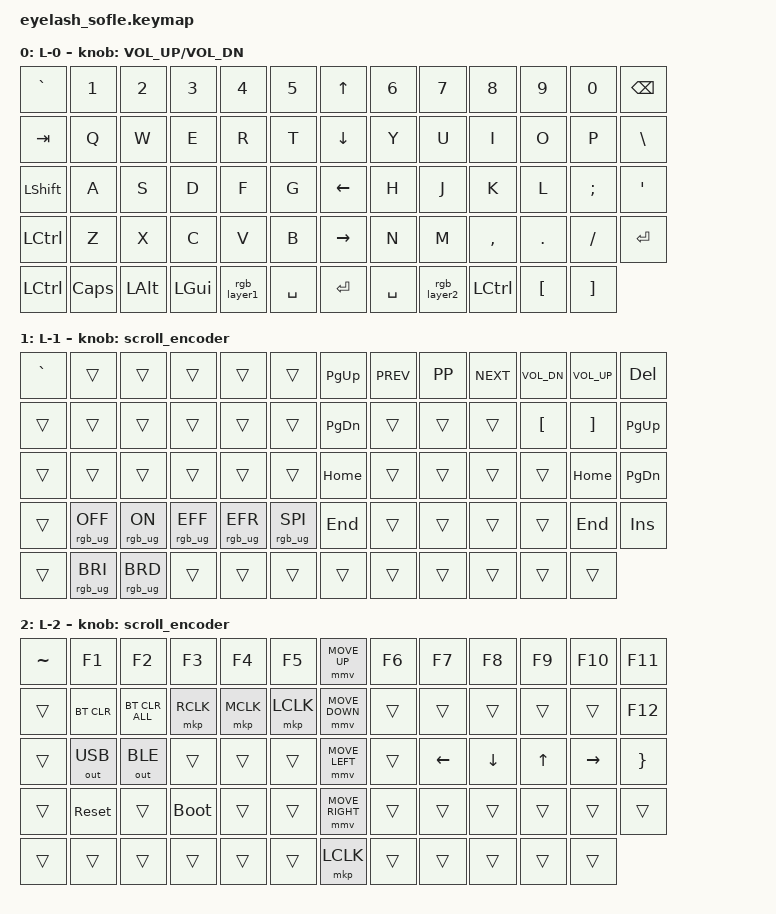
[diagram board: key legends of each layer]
#define ZMK_POINTING_DEFAULT_MOVE_VAL 1200  // 600
#define ZMK_POINTING_DEFAULT_SCRL_VAL 25    // 10

#include <input/processors.dtsi>
#include <zephyr/dt-bindings/input/input-event-codes.h>
#include <behaviors.dtsi>
#include <dt-bindings/zmk/bt.h>
#include <dt-bindings/zmk/keys.h>
#include <dt-bindings/zmk/outputs.h>
#include <dt-bindings/zmk/pointing.h>
#include <dt-bindings/zmk/rgb.h>

&mmv_input_listener { input-processors = <&zip_xy_scaler 2 1>; };
&msc_input_listener { input-processors = <&zip_scroll_scaler 2 1>; };

&msc {
    acceleration-exponent = <1>;      // 0
    time-to-max-speed-ms = <100>;     // 300
    delay-ms = <0>;                   // 0
};

&mmv {
    time-to-max-speed-ms = <500>;
    acceleration-exponent = <1>;
    trigger-period-ms = <16>;
};

/ {
    scroll_encoder: scroll_encoder {
        compatible = "zmk,behavior-sensor-rotate";
        #sensor-binding-cells = <0>;
        bindings = <&msc SCRL_DOWN>, <&msc SCRL_UP>;
        tap-ms = <100>;
    };

    macros {
        ZMK_MACRO(rgb_layer1,
            wait-ms = <0>;
            tap-ms = <0>;
            bindings
                = <&macro_press &mo 1>
                , <&macro_tap &rgb_ug RGB_COLOR_HSB(60,100,10)>
                , <&macro_pause_for_release>
                , <&macro_release &mo 1>
                , <&macro_tap &rgb_ug RGB_COLOR_HSB(128,100,10)>
            ;
        )

        ZMK_MACRO(rgb_layer2,
            wait-ms = <0>;
            tap-ms = <0>;
            bindings
                = <&macro_press &mo 2>
                , <&macro_tap &rgb_ug RGB_COLOR_HSB(220,100,10)>
                , <&macro_pause_for_release>
                , <&macro_release &mo 2>
                , <&macro_tap &rgb_ug RGB_COLOR_HSB(128,100,10)>
            ;
        )
    };

    keymap {
        compatible = "zmk,keymap";
        layer0 {
            bindings = <
                &kp GRAVE  &kp N1           &kp N2           &kp N3           &kp N4          &kp N5                 &kp UP_ARROW        &kp N6      &kp N7          &kp N8          &kp N9        &kp N0           &kp BACKSPACE
                &kp TAB    &kp Q            &kp W            &kp E            &kp R           &kp T                  &kp DOWN_ARROW      &kp Y       &kp U           &kp I           &kp O         &kp P            &kp BSLH
                &kp LSHFT  &kp A            &kp S            &kp D            &kp F           &kp G                  &kp LEFT_ARROW      &kp H       &kp J           &kp K           &kp L         &kp SEMI         &kp SQT
                &kp LCTRL  &kp Z            &kp X            &kp C            &kp V           &kp B                  &kp RIGHT_ARROW     &kp N       &kp M           &kp COMMA       &kp DOT       &kp FSLH         &kp ENTER
                &kp LCTRL  &kp CAPS         &kp LALT         &kp LEFT_GUI     &rgb_layer1     &kp SPACE              &kp ENTER           &kp SPACE   &rgb_layer2     &kp LCTRL       &kp LBKT      &kp RBKT
            >;
            sensor-bindings = <&inc_dec_kp C_VOLUME_UP C_VOL_DN>;
            display-name = "L-0";
        };

        layer_1 {
            bindings = <
                &kp GRAVE  &trans           &trans           &trans           &trans           &trans                &kp PG_UP           &kp K_PREV  &kp K_PP        &kp K_NEXT      &kp K_VOL_DN  &kp K_VOL_UP     &kp DELETE
                &trans     &trans           &trans           &trans           &trans           &trans                &kp PG_DN           &trans      &trans          &trans          &kp LBKT      &kp RBKT         &kp PG_UP
                &trans     &trans           &trans           &trans           &trans           &trans                &kp HOME            &trans      &trans          &trans          &trans        &kp HOME         &kp PG_DN
                &trans     &rgb_ug RGB_OFF  &rgb_ug RGB_ON   &rgb_ug RGB_EFF  &rgb_ug RGB_EFR  &rgb_ug RGB_SPI       &kp END             &trans      &trans          &trans          &trans        &kp END          &kp INS
                &trans     &rgb_ug RGB_BRI  &rgb_ug RGB_BRD  &trans           &trans           &trans                &trans              &trans      &trans          &trans          &trans        &trans
            >;
            display-name = "L-1";
            sensor-bindings = <&scroll_encoder>;
        };

        layer_2 {
            bindings = <
                &kp TILDE  &kp F1           &kp F2           &kp F3           &kp F4           &kp F5                &mmv MOVE_UP        &kp F6      &kp F7          &kp F8          &kp F9        &kp F10          &kp F11
                &trans     &bt BT_CLR       &bt BT_CLR_ALL   &mkp RCLK        &mkp MCLK        &mkp LCLK             &mmv MOVE_DOWN      &trans      &trans          &trans          &trans        &trans           &kp F12
                &trans     &out OUT_USB     &out OUT_BLE     &trans           &trans           &trans                &mmv MOVE_LEFT      &trans      &kp LEFT_ARROW  &kp DOWN_ARROW  &kp UP_ARROW  &kp RIGHT_ARROW  &kp RBRC
                &trans     &sys_reset       &trans           &bootloader      &trans           &trans                &mmv MOVE_RIGHT     &trans      &trans          &trans          &trans        &trans           &trans
                &trans     &trans           &trans           &trans           &trans           &trans                &mkp LCLK           &trans      &trans          &trans          &trans        &trans
            >;
            display-name = "L-2";
            sensor-bindings = <&scroll_encoder>;
        };
    };
};


//     keymap {
//         compatible = "zmk,keymap";
//
//         layer0 {
//             bindings = <
// &kp ESC     &kp N1     &kp N2        &kp N3        &kp N4  &kp N5       &kp UP_ARROW     &kp N6     &kp N7     &kp N8     &kp N9           &kp N0      &kp BACKSPACE
// &kp TAB     &kp Q      &kp W         &kp E         &kp R   &kp T        &kp DOWN_ARROW   &kp Y      &kp U      &kp I      &kp O            &kp P       &kp BSLH
// &kp CAPS    &kp A      &kp S         &kp D         &kp F   &kp G        &kp LEFT_ARROW   &kp H      &kp J      &kp K      &kp L            &kp SEMI    &kp APOS
// &kp LSHFT   &kp Z      &kp X         &kp C         &kp V   &kp B        &kp RIGHT_ARROW  &kp N      &kp M      &kp COMMA  &kp DOT          &kp FSLH    &kp ENTER
// &kp C_MUTE  &kp LCTRL  &kp LEFT_GUI  &kp LEFT_ALT  &mo 1   &kp SPACE    &kp ENTER        &kp SPACE  &kp ENTER  &mo 2      &kp RIGHT_SHIFT  &kp DELETE
//             >;
//
//             sensor-bindings = <&inc_dec_kp C_VOLUME_UP C_VOL_DN>;
//             display-name = "LAYER0";
//         };
//
//         layer_1 {
//             bindings = <
// &kp GRAVE   &kp F1           &kp F2          &kp F3           &kp F4           &kp F5             &mmv MOVE_UP     &kp F6           &kp F7           &kp F8      &kp F9     &kp F10           &trans
// &trans      &kp GRAVE        &mkp LCLK       &mkp MCLK        &mkp RCLK        &mkp MB4           &mmv MOVE_DOWN   &kp PG_UP        &kp END          &kp UP      &kp HOME   &kp MINUS         &kp EQUAL
// &trans      &kp TILDE        &trans          &trans           &trans           &mkp MB5           &mmv MOVE_LEFT   &kp PG_DN        &kp LEFT         &kp DOWN    &kp RIGHT  &kp LEFT_BRACKET  &kp RIGHT_BRACKET
// &trans      &rgb_ug RGB_OFF  &rgb_ug RGB_ON  &rgb_ug RGB_EFF  &rgb_ug RGB_EFR  &rgb_ug RGB_SPI    &mmv MOVE_RIGHT  &rgb_ug RGB_BRI  &rgb_ug RGB_BRD  &kp INSERT  &kp F11    &kp F12           &trans
// &kp C_MUTE  &trans           &trans          &trans           &trans           &trans             &mkp LCLK        &trans           &trans           &trans      &trans     &trans
//             >;
//
//             display-name = "layer1";
//             sensor-bindings = <&scroll_encoder>;
//         };
//
//         layer_2 {
//             bindings = <
// &kp TILDE  &bt BT_SEL 0  &bt BT_SEL 1    &bt BT_SEL 2  &bt BT_SEL 3  &bt BT_SEL 4    &mmv MOVE_UP     &kp F6  &kp F7  &kp F8      &kp F9     &kp F10      &trans
// &trans     &bt BT_CLR    &bt BT_CLR_ALL  &trans        &trans        &trans          &mmv MOVE_DOWN   &trans  &trans  &kp F11     &kp F12    &kp UNDER    &kp PLUS
// &trans     &out OUT_USB  &out OUT_BLE    &trans        &trans        &trans          &mmv MOVE_LEFT   &trans  &trans  &trans      &trans     &kp LBRC     &kp RBRC
// &trans     &sys_reset    &trans          &bootloader   &trans        &trans          &mmv MOVE_RIGHT  &trans  &trans  &sys_reset  &soft_off  &bootloader  &trans
// &trans     &trans        &trans          &trans        &trans        &trans          &mkp LCLK        &trans  &trans  &trans      &trans     &trans
//             >;
//
//             display-name = "layer2";
//             sensor-bindings = <&scroll_encoder>;
//         };
//     };
// };
